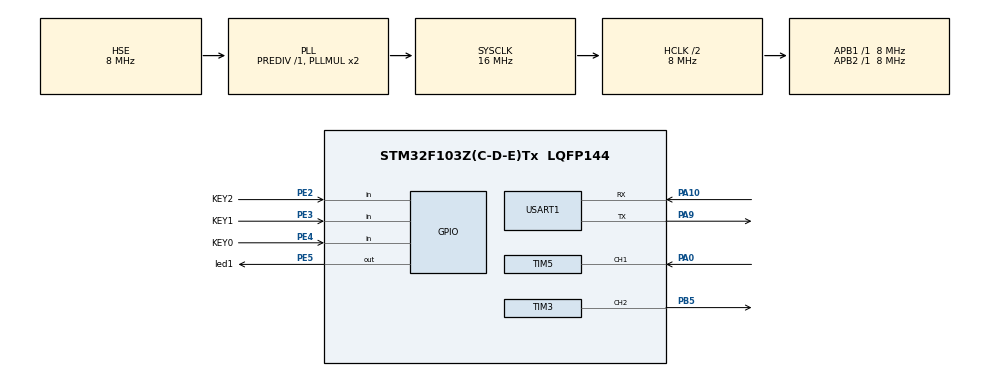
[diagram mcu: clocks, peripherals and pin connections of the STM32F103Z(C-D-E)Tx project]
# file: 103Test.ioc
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Mcu.Family=STM32F1
Mcu.Name=STM32F103Z(C-D-E)Tx
Mcu.Package=LQFP144
NVIC.PriorityGroup=NVIC_PRIORITYGROUP_4
NVIC.TIM3_IRQn=true\:0\:0\:false\:false\:true\:true\:true
NVIC.TIM5_IRQn=true\:2\:0\:true\:false\:true\:true\:true
NVIC.TIM6_IRQn=true\:0\:0\:false\:false\:true\:true\:true
NVIC.TIM7_IRQn=true\:0\:0\:false\:false\:true\:true\:true
NVIC.USART1_IRQn=true\:0\:0\:false\:false\:true\:true\:true
OSC_IN.Mode=HSE-External-Oscillator
OSC_IN.Signal=RCC_OSC_IN
OSC_OUT.Mode=HSE-External-Oscillator
OSC_OUT.Signal=RCC_OSC_OUT
PA0-WKUP.GPIO_PuPd=GPIO_PULLDOWN
PA0-WKUP.Signal=S_TIM5_CH1
PA10.Mode=Asynchronous
PA10.Signal=USART1_RX
PA13.Mode=Serial_Wire
PA13.Signal=SYS_JTMS-SWDIO
PA14.Mode=Serial_Wire
PA14.Signal=SYS_JTCK-SWCLK
PA9.Mode=Asynchronous
PA9.Signal=USART1_TX
PB5.Signal=S_TIM3_CH2
PE2.GPIO_Label=KEY2
PE2.GPIO_PuPd=GPIO_PULLUP
PE2.Signal=GPIO_Input
PE3.GPIO_Label=KEY1
PE3.GPIO_PuPd=GPIO_PULLUP
PE3.Signal=GPIO_Input
PE4.GPIO_Label=KEY0
PE4.GPIO_PuPd=GPIO_PULLUP
PE4.Signal=GPIO_Input
PE5.GPIO_Label=led1
PE5.Signal=GPIO_Output
ProjectManager.HeapSize=0x200
ProjectManager.StackSize=0x400
ProjectManager.TargetToolchain=MDK-ARM V5
RCC.AHBCLKDivider=RCC_SYSCLK_DIV2
RCC.AHBFreq_Value=8000000
RCC.APB1Freq_Value=8000000
RCC.APB1TimFreq_Value=8000000
RCC.APB2Freq_Value=8000000
RCC.APB2TimFreq_Value=8000000
RCC.EnbaleCSS=true
RCC.HCLKFreq_Value=8000000
RCC.PLLSourceVirtual=RCC_PLLSOURCE_HSE
RCC.SYSCLKFreq_VALUE=16000000
RCC.SYSCLKSource=RCC_SYSCLKSOURCE_PLLCLK
RCC.USBFreq_Value=16000000
SH.S_TIM3_CH2.0=TIM3_CH2,PWM Generation2 CH2
SH.S_TIM5_CH1.0=TIM5_CH1,Input_Capture1_from_TI1
TIM3.Channel-PWM\ Generation2\ CH2=TIM_CHANNEL_2
TIM3.OCPolarity_2=TIM_OCPOLARITY_LOW
TIM3.Period=71
TIM3.Prescaler=499
TIM5.Channel-Input_Capture1_from_TI1=TIM_CHANNEL_1
TIM5.Period=0xffff
TIM5.Prescaler=7
TIM5.TIM_MasterOutputTrigger=TIM_TRGO_UPDATE
TIM6.Period=199
TIM6.Prescaler=79
TIM7.Period=1199
TIM7.Prescaler=999
USART1.VirtualMode=VM_ASYNC
VP_TIM5_VS_ClockSourceINT.Mode=Internal
VP_TIM6_VS_ClockSourceINT.Mode=Enable_Timer
VP_TIM7_VS_ClockSourceINT.Mode=Enable_Timer
board=custom

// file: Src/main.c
/* USER CODE BEGIN Header */
/**
  ******************************************************************************
  * @file           : main.c
  * @brief          : Main program body
  ******************************************************************************
  * @attention
  *
  * <h2><center>&copy; Copyright (c) 2020 STMicroelectronics.
  * All rights reserved.</center></h2>
  *
  * This software component is licensed by ST under BSD 3-Clause license,
  * the "License"; You may not use this file except in compliance with the
  * License. You may obtain a copy of the License at:
  *                        opensource.org/licenses/BSD-3-Clause
  *
  ******************************************************************************
  */
/* USER CODE END Header */

#include "main.h"
#include "tim.h"
#include "usart.h"
#include "gpio.h"

/* USER CODE BEGIN Includes */
#include "key.h"
#include "delay.h"
#include "string.h"
/* USER CODE END Includes */

/* USER CODE BEGIN PV */
//KEY_TypeDef key_data;
/* USER CODE END PV */

void SystemClock_Config(void);

int main(void)
{
  /* USER CODE BEGIN 1 */
	uint8_t welcom[] = "Hello World\r\n";
	uint8_t str_buf[64];
	uint16_t pwmval = 0;
	long long temp = 0;
  /* USER CODE END 1 */

  /* MCU Configuration--------------------------------------------------------*/

  /* Reset of all peripherals, Initializes the Flash interface and the Systick. */
  HAL_Init();

  /* Configure the system clock */
  SystemClock_Config();

  /* Initialize all configured peripherals */
  MX_GPIO_Init();
  MX_USART1_UART_Init();
  MX_TIM6_Init();
  MX_TIM7_Init();
  MX_TIM3_Init();
  MX_TIM5_Init();
  /* USER CODE BEGIN 2 */
	delay_init(8);
	HAL_TIM_Base_Start_IT(&htim3);
	HAL_TIM_Base_Start_IT(&htim6);
	HAL_TIM_Base_Start_IT(&htim7);
	HAL_TIM_IC_Start_IT(&htim5, TIM_CHANNEL_1);
	__HAL_TIM_ENABLE_IT(&htim5,TIM_IT_UPDATE);
	HAL_UART_Receive_IT(&huart1, (uint8_t *)uart1.rx_buf, 1);
	HAL_TIM_PWM_Start(&htim3,TIM_CHANNEL_2);
	HAL_UART_Transmit(&huart1,welcom,strlen((char *)welcom),1000);
  /* USER CODE END 2 */

  /* Infinite loop */
  /* USER CODE BEGIN WHILE */

  while (1)
  {
		if(uart1.rx_index == 0 && uart1.rx_len != 0)
		{
			if(uart1.rx_dat[0] != '#' || uart1.rx_dat[uart1.rx_len - 2] != '$')
				printf("数据格式错误！\r\n");
			else
			{
				printf("收到数据：");
				uart1.rx_dat[0] = ' ';
				uart1.rx_dat[uart1.rx_len - 2] = ' ';
				HAL_UART_Transmit(&huart1,(uint8_t *)uart1.rx_dat,uart1.rx_len - 1,1000);
				printf("\r\n");
			}
			uart1.rx_len = 0;
		}

		if(keyup_data == KEY0_PRESS)
		{
			HAL_GPIO_TogglePin(led1_GPIO_Port,led1_Pin);
		}
		if(key_tem == KEY1_PRESS && key_time >= 500)
		{
//			if(key_time % 500 == 0)
//				HAL_GPIO_TogglePin(led0_GPIO_Port,led0_Pin);
		}
		if(key_tem == KEY2_PRESS && key_time >= 1000)
		{
			sprintf((char *)str_buf, "KEY2被按下%d秒\r\n",key_time/1000);
			if(key_time % 1000 == 0)
			{
				HAL_UART_Transmit(&huart1, str_buf, strlen((char *)str_buf), 1000);
				delay_us(500);
			}
		}

    /* USER CODE END WHILE */

    /* USER CODE BEGIN 3 */
		while(pwmval < 800)
		{
			pwmval++;
			TIM3->CCR2 = pwmval;
			delay_ms(2);
		}
		while(pwmval)
		{
			pwmval--;
			TIM3->CCR2 = pwmval;
			delay_ms(2);
		}

		if(TIM5CH1_CAPTURE_STA&0X80)        //成功捕获到了一次高电平
		{
			temp=TIM5CH1_CAPTURE_STA&0X3F;
			temp*=65536;		 	    	//溢出时间总和
			temp+=TIM5CH1_CAPTURE_VAL;      //得到总的高电平时间
			printf("HIGH:%lld us\r\n",temp);//打印总的高点平时间
			TIM5CH1_CAPTURE_STA=0;          //开启下一次捕获
		}
  }
  /* USER CODE END 3 */
}

void SystemClock_Config(void)
{
  RCC_OscInitTypeDef RCC_OscInitStruct = {0};
  RCC_ClkInitTypeDef RCC_ClkInitStruct = {0};

  /** Initializes the CPU, AHB and APB busses clocks
  */
  RCC_OscInitStruct.OscillatorType = RCC_OSCILLATORTYPE_HSE;
  RCC_OscInitStruct.HSEState = RCC_HSE_ON;
  RCC_OscInitStruct.HSEPredivValue = RCC_HSE_PREDIV_DIV1;
  RCC_OscInitStruct.HSIState = RCC_HSI_ON;
  RCC_OscInitStruct.PLL.PLLState = RCC_PLL_ON;
  RCC_OscInitStruct.PLL.PLLSource = RCC_PLLSOURCE_HSE;
  RCC_OscInitStruct.PLL.PLLMUL = RCC_PLL_MUL2;
  if (HAL_RCC_OscConfig(&RCC_OscInitStruct) != HAL_OK)
  {
    Error_Handler();
  }
  /** Initializes the CPU, AHB and APB busses clocks
  */
  RCC_ClkInitStruct.ClockType = RCC_CLOCKTYPE_HCLK|RCC_CLOCKTYPE_SYSCLK
                              |RCC_CLOCKTYPE_PCLK1|RCC_CLOCKTYPE_PCLK2;
  RCC_ClkInitStruct.SYSCLKSource = RCC_SYSCLKSOURCE_PLLCLK;
  RCC_ClkInitStruct.AHBCLKDivider = RCC_SYSCLK_DIV2;
  RCC_ClkInitStruct.APB1CLKDivider = RCC_HCLK_DIV1;
  RCC_ClkInitStruct.APB2CLKDivider = RCC_HCLK_DIV1;

  if (HAL_RCC_ClockConfig(&RCC_ClkInitStruct, FLASH_LATENCY_0) != HAL_OK)
  {
    Error_Handler();
  }
  /** Enables the Clock Security System
  */
  HAL_RCC_EnableCSS();
}

void Error_Handler(void)
{
}

/************************ (C) COPYRIGHT STMicroelectronics *****END OF FILE****/
